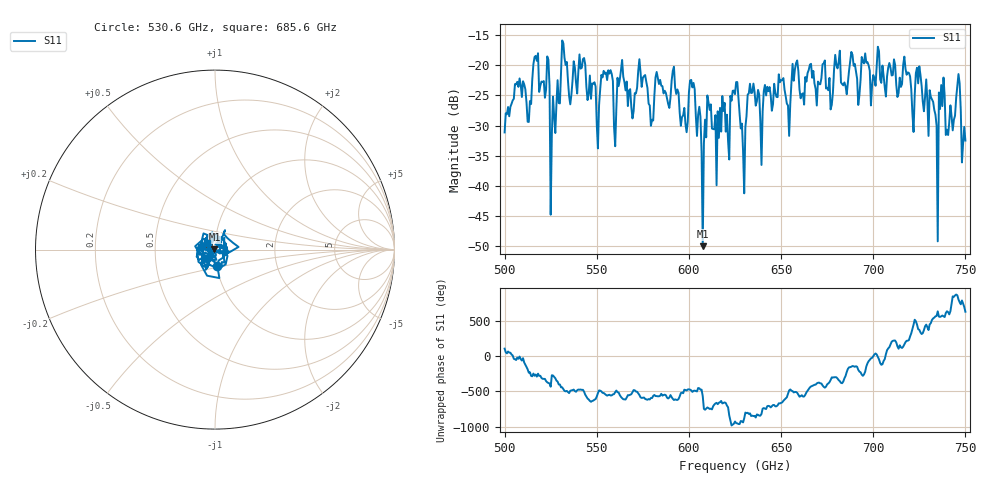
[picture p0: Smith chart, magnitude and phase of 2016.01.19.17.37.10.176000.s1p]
!Created with skrf (http://scikit-rf.org).
# GHz S RI R 50.0
!freq ReS11 ImS11
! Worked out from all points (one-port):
!   401 points, 500 GHz to 750 GHz, reference 50 ohm
!   lowest |S11| = -50.0 dB at 607.5 GHz (marker M1), VSWR 1.01, Z = 49.7 + j0.144 ohm
!   |S11| at or under -10 dB: start of sweep to end of sweep
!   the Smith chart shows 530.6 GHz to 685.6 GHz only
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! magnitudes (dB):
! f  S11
! 500 GHz  -31.1
! 506.9 GHz  -22.8
! 513.1 GHz  -29.4
! 516.9 GHz  -18.4
! 523.1 GHz  -18.5
! 526.2 GHz  -25.2
! 531.2 GHz  -15.9
! 550.6 GHz  -33.8
! 562.5 GHz  -22.4
! 593.8 GHz  -24.0
! 598.1 GHz  -29.8
! 601.9 GHz  -23.7
! 607.5 GHz  -50.0
! 610.6 GHz  -26.1
! 620.6 GHz  -28.2
! 625 GHz  -24.8
! 629.4 GHz  -34.2
! 633.8 GHz  -24.6
! 639.4 GHz  -36.5
! 656.2 GHz  -19.8
! 687.5 GHz  -19.4
! 718.8 GHz  -21.2
! 731.9 GHz  -25.7
! 733.8 GHz  -28.2
! 736.9 GHz  -23.3
! 740.6 GHz  -31.6
! 746.2 GHz  -21.5
! 750 GHz  -32.5
